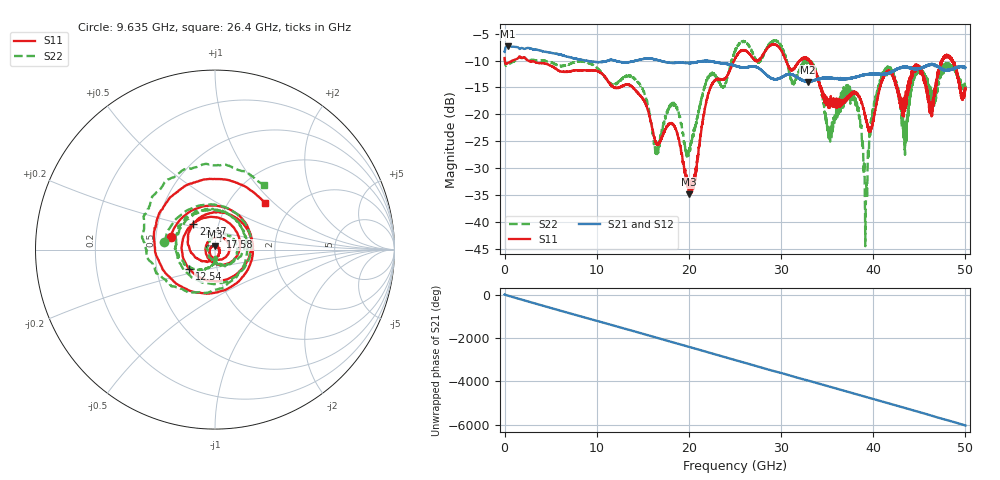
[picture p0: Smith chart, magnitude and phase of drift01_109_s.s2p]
!Created with skrf (http://scikit-rf.org).
# Hz S RI R 50.0
!freq ReS11 ImS11 ReS21 ImS21 ReS12 ImS12 ReS22 ImS22
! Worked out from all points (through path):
!   10001 points, 300 kHz to 50 GHz, reference 50 ohm
!   highest |S21| = -7.33 dB at 325.3 MHz (marker M1); lowest = -14.0 dB at 32.87 GHz (marker M2)
!   group delay of S21, straight-line fit = 335 ps
!   lowest |S11| = -34.8 dB at 20.01 GHz (marker M3), VSWR 1.04, Z = 49.9 + j1.8 ohm
!   |S11| at or under -10 dB: 2.551 GHz to 24.91 GHz (22.36 GHz wide, 163 % of centre); 30.53 GHz to 32.02 GHz (1.485 GHz wide, 4.75 % of centre); 33.08 GHz to 47.44 GHz (14.37 GHz wide, 35.7 % of centre) (the widest 3 of 19)
!   |S22| runs from -44.5 to -6.3 dB; largest |S21 - S12| = 0.011
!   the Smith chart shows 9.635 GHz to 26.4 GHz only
!   S11 on the Smith chart (normalised r, x): 9.635 GHz: 0.60, +0.09; 12.54 GHz: 0.73, -0.16; 17.58 GHz: 1.05, +0.15; 22.47 GHz: 0.76, +0.23; 26.4 GHz: 1.46, +0.87
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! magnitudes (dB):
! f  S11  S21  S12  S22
! 300 kHz  -9.5  -8.4  -8.5  -9.5
! 325.3 MHz  -10.5  -7.3  -7.3  -10.9
! 8.335 GHz  -11.8  -9.9  -9.8  -10.2
! 9.635 GHz  -11.8  -10.2  -10.2  -10.9
! 12.54 GHz  -14.9  -10.3  -10.3  -13.6
! 16.67 GHz  -25.7  -9.9  -9.9  -27.0
! 17.58 GHz  -22.3  -10.3  -10.3  -19.5
! 20.01 GHz  -34.8  -10.5  -10.5  -27.0
! 22.47 GHz  -14.5  -10.2  -10.2  -12.6
! 25 GHz  -9.6  -11.0  -11.0  -8.3
! 26.4 GHz  -8.5  -11.2  -11.2  -7.0
! 32.87 GHz  -9.8  -14.0  -13.9  -9.9
! 33.34 GHz  -10.7  -13.8  -13.8  -10.5
! 35.25 GHz  -17.2  -13.3  -13.2  -23.6
! 37.98 GHz  -15.9  -13.1  -13.1  -17.5
! 39.17 GHz  -20.5  -12.6  -12.6  -40.8
! 40.14 GHz  -19.9  -12.5  -12.5  -17.9
! 41.67 GHz  -11.9  -12.3  -12.3  -11.7
! 43.43 GHz  -17.3  -11.3  -11.3  -24.2
! 44.88 GHz  -11.0  -11.5  -11.5  -12.1
! 46.28 GHz  -18.1  -10.6  -10.6  -17.3
! 50 GHz  -15.3  -11.4  -11.3  -15.0
